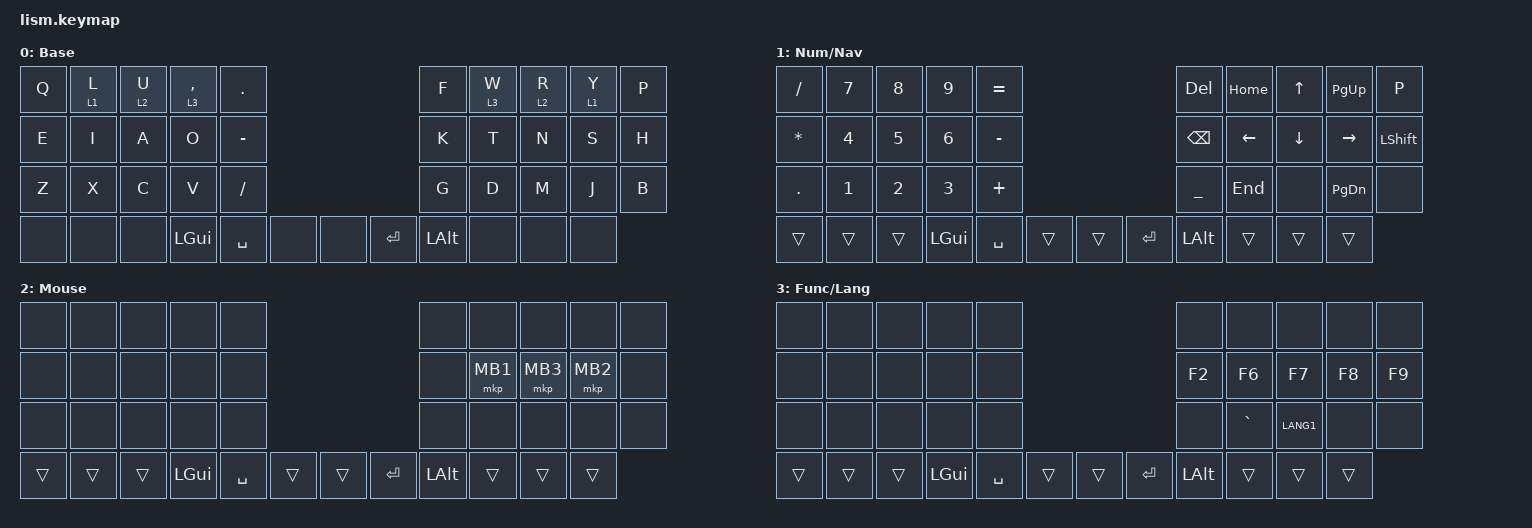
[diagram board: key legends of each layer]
#include <behaviors.dtsi>
#include <dt-bindings/zmk/bt.h>
#include <dt-bindings/zmk/keys.h>
#include <dt-bindings/zmk/pointing.h>

/* LEDエラー回避用の定義 */
/ {
    aliases {
        led-red = &status_led;
    };
};

/* マウスボタンの定義補完 */
#define LCLK MB1
#define RCLK MB2
#define MCLK MB3

&mt {
    tapping-term-ms = <300>;
    flavor = "balanced";
};

&lt {
    quick-tap-ms = <300>;
};

/ {
    keymap {
        compatible = "zmk,keymap";

        // Layer 0: Default Layer
        default_layer {
            display-name = "Base";
            bindings = <
                &kp Q          &lt 1 L        &lt 2 U        &lt 3 COMMA    &kp DOT                                                 &kp F          &lt 3 W        &lt 2 R        &lt 1 Y        &kp P
                &kp E          &kp I          &kp A          &kp O          &kp MINUS                                               &kp K          &kp T          &kp N          &kp S          &kp H
                &kp Z          &kp X          &kp C          &kp V          &kp SLASH                                               &kp G          &kp D          &kp M          &kp J          &kp B
                &none          &none          &none          &kp LGUI       &kp SPACE      &none     &none       &kp ENTER      &kp LALT       &none          &none          &none
            >;
        };

        // Layer 1: Number & Navigation
        layer_1 {
            display-name = "Num/Nav";
            bindings = <
                &kp SLASH      &kp N7         &kp N8         &kp N9         &kp EQUAL                                               &kp DEL        &kp HOME       &kp UP         &kp PG_UP      &kp P
                &kp ASTRK      &kp N4         &kp N5         &kp N6         &kp MINUS                                               &kp BSPC       &kp LEFT       &kp DOWN       &kp RIGHT      &kp LSHFT
                &kp DOT        &kp N1         &kp N2         &kp N3         &kp PLUS                                                &kp UNDER      &kp END        &none          &kp PG_DN      &none
                &trans         &trans         &trans         &kp LGUI       &kp SPACE      &trans    &trans      &kp ENTER      &kp LALT       &trans         &trans         &trans
            >;
        };

        // Layer 2: Mouse Layer
        layer_2 {
            display-name = "Mouse";
            bindings = <
                &none          &none          &none          &none          &none                                                   &none          &none          &none          &none          &none
                &none          &none          &none          &none          &none                                                   &none          &mkp LCLK      &mkp MCLK      &mkp RCLK      &none
                &none          &none          &none          &none          &none                                                   &none          &none          &none          &none          &none
                &trans         &trans         &trans         &kp LGUI       &kp SPACE      &trans    &trans      &kp ENTER      &kp LALT       &trans         &trans         &trans
            >;
        };

        // Layer 3: Function & Language
        layer_3 {
            display-name = "Func/Lang";
            bindings = <
                &none          &none          &none          &none          &none                                                   &none          &none          &none          &none          &none
                &none          &none          &none          &none          &none                                                   &kp F2         &kp F6         &kp F7         &kp F8         &kp F9
                &none          &none          &none          &none          &none                                                   &none          &kp GRAVE      &kp LANG1      &none          &none
                &trans         &trans         &trans         &kp LGUI       &kp SPACE      &trans    &trans      &kp ENTER      &kp LALT       &trans         &trans         &trans
            >;
        };
    };
};
